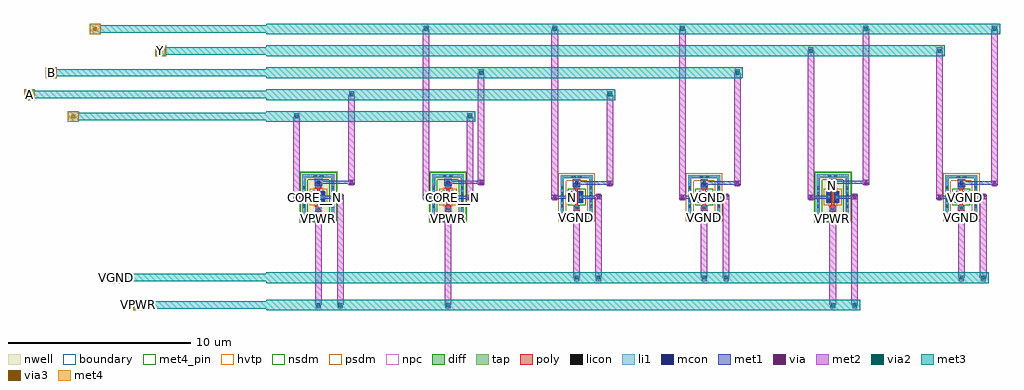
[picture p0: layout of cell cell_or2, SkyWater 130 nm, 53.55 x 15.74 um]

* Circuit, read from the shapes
.subckt cell_or2 A B CORE__N N VGND VPWR Y
XM1 VGND A N VGND sky130_fd_pr__nfet_01v8 w=0.65 l=0.15
XM2 VGND B N VGND sky130_fd_pr__nfet_01v8 w=0.65 l=0.15
XM3 VGND N Y VGND sky130_fd_pr__nfet_01v8 w=0.65 l=0.15
XM4 VPWR A CORE__N VPWR sky130_fd_pr__pfet_01v8_hvt w=0.65 l=0.15
XM5 CORE__N B N VPWR sky130_fd_pr__pfet_01v8_hvt w=0.65 l=0.15
XM6 VPWR N Y VPWR sky130_fd_pr__pfet_01v8_hvt w=0.65 l=0.15
.ends

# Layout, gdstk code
import gdstk
lib = gdstk.Library(unit=1e-6, precision=1e-09)
def R(c, l, rs):  # rectangles x0, y0, x1, y1
    for r in rs: c.add(gdstk.rectangle(r[:2], r[2:], *l))
def A(c, l, x, y, w, h, nx, ny, dx, dy):  # array of equal rectangles
    R(c, l, [(x+i*dx, y+j*dy, x+i*dx+w, y+j*dy+h) for i in range(nx) for j in range(ny)])
def P(c, l, *ps):  # polygons
    for p in ps: c.add(gdstk.Polygon(p, *l))
nwell = (64, 20)
diff = (65, 20)
tap = (65, 44)
poly = (66, 20)
licon = (66, 44)
li1 = (67, 20)
mcon = (67, 44)
met1 = (68, 20)
via = (68, 44)
met2 = (69, 20)
via2 = (69, 44)
met3 = (70, 20)
via3 = (70, 44)
met4_pin = (71, 16)
met4 = (71, 20)
hvtp = (78, 44)
nsdm = (93, 44)
psdm = (94, 20)
npc = (95, 20)
boundary = (235, 4)

cell_or2 = lib.new_cell('cell_or2')
R(cell_or2, nwell, [(25.4,14.8,27.51,17.64), (32.51,14.8,34.62,17.64), (53.62,14.8,55.73,17.64)])
A(cell_or2, diff, 47.255, 15.895, 0.73, 0.65, 3, 1, 7.055, 0)
R(cell_or2, diff, [(26.09,15.895,26.82,16.545), (33.2,15.895,33.93,16.545), (40.255,15.895,40.985,16.545)])
R(cell_or2, tap, [(25.58,14.98,27.33,15.15), (32.69,14.98,34.44,15.15), (53.8,14.98,55.55,15.15), (39.745,15.025,41.495,15.195), (46.745,15.025,48.495,15.195), (60.855,15.025,62.605,15.195), (25.58,15.15,25.75,17.29), (27.16,15.15,27.33,17.29), (32.69,15.15,32.86,17.29), (34.27,15.15,34.44,17.29), (53.8,15.15,53.97,17.29), (55.38,15.15,55.55,17.29), (39.745,15.195,39.915,17.245), (41.325,15.195,41.495,17.245), (46.745,15.195,46.915,17.245), (48.325,15.195,48.495,17.245), (60.855,15.195,61.025,17.245), (62.435,15.195,62.605,17.245), (39.745,17.245,41.495,17.415), (46.745,17.245,48.495,17.415), (60.855,17.245,62.605,17.415), (25.58,17.29,27.33,17.46), (32.69,17.29,34.44,17.46), (53.8,17.29,55.55,17.46)])
R(cell_or2, poly, [(26.29,15.41,26.62,15.74), (33.4,15.41,33.73,15.74), (54.51,15.41,54.84,15.74), (40.455,15.455,40.785,15.785), (47.455,15.455,47.785,15.785), (61.565,15.455,61.895,15.785), (26.38,15.74,26.53,16.7), (33.49,15.74,33.64,16.7), (54.6,15.74,54.75,16.7), (40.545,15.785,40.695,16.655), (47.545,15.785,47.695,16.655), (61.655,15.785,61.805,16.655), (40.455,16.655,40.785,16.985), (47.455,16.655,47.785,16.985), (61.565,16.655,61.895,16.985), (26.29,16.7,26.62,17.03), (33.4,16.7,33.73,17.03), (54.51,16.7,54.84,17.03)])
A(cell_or2, licon, 25.58, 15.625, 0.17, 0.17, 1, 4, 0, 0.34)
A(cell_or2, licon, 27.16, 15.625, 0.17, 0.17, 1, 4, 0, 0.34)
A(cell_or2, licon, 32.69, 15.625, 0.17, 0.17, 1, 4, 0, 0.34)
A(cell_or2, licon, 34.27, 15.625, 0.17, 0.17, 1, 4, 0, 0.34)
A(cell_or2, licon, 39.745, 15.625, 0.17, 0.17, 1, 4, 0, 0.34)
A(cell_or2, licon, 41.325, 15.625, 0.17, 0.17, 1, 4, 0, 0.34)
A(cell_or2, licon, 46.745, 15.625, 0.17, 0.17, 1, 4, 0, 0.34)
A(cell_or2, licon, 48.325, 15.625, 0.17, 0.17, 1, 4, 0, 0.34)
A(cell_or2, licon, 53.8, 15.625, 0.17, 0.17, 1, 4, 0, 0.34)
A(cell_or2, licon, 55.38, 15.625, 0.17, 0.17, 1, 4, 0, 0.34)
A(cell_or2, licon, 60.855, 15.625, 0.17, 0.17, 1, 4, 0, 0.34)
A(cell_or2, licon, 62.435, 15.625, 0.17, 0.17, 1, 4, 0, 0.34)
R(cell_or2, licon, [(26.2,14.98,26.37,15.15), (26.54,14.98,26.71,15.15), (33.31,14.98,33.48,15.15), (33.65,14.98,33.82,15.15), (54.42,14.98,54.59,15.15), (54.76,14.98,54.93,15.15), (40.365,15.025,40.535,15.195), (40.705,15.025,40.875,15.195), (47.365,15.025,47.535,15.195), (47.705,15.025,47.875,15.195), (61.475,15.025,61.645,15.195), (61.815,15.025,61.985,15.195), (26.37,15.49,26.54,15.66), (33.48,15.49,33.65,15.66), (54.59,15.49,54.76,15.66), (40.535,15.535,40.705,15.705), (47.535,15.535,47.705,15.705), (61.645,15.535,61.815,15.705), (26.15,15.965,26.32,16.135), (26.59,15.965,26.76,16.135), (33.26,15.965,33.43,16.135), (33.7,15.965,33.87,16.135), (40.315,15.965,40.485,16.135), (40.755,15.965,40.925,16.135), (47.315,15.965,47.485,16.135), (47.755,15.965,47.925,16.135), (54.37,15.965,54.54,16.135), (54.81,15.965,54.98,16.135), (61.425,15.965,61.595,16.135), (61.865,15.965,62.035,16.135), (26.15,16.305,26.32,16.475), (26.59,16.305,26.76,16.475), (33.26,16.305,33.43,16.475), (33.7,16.305,33.87,16.475), (40.315,16.305,40.485,16.475), (40.755,16.305,40.925,16.475), (47.315,16.305,47.485,16.475), (47.755,16.305,47.925,16.475), (54.37,16.305,54.54,16.475), (54.81,16.305,54.98,16.475), (61.425,16.305,61.595,16.475), (61.865,16.305,62.035,16.475), (40.535,16.735,40.705,16.905), (47.535,16.735,47.705,16.905), (61.645,16.735,61.815,16.905), (26.37,16.78,26.54,16.95), (33.48,16.78,33.65,16.95), (54.59,16.78,54.76,16.95), (40.365,17.245,40.535,17.415), (40.705,17.245,40.875,17.415), (47.365,17.245,47.535,17.415), (47.705,17.245,47.875,17.415), (61.475,17.245,61.645,17.415), (61.815,17.245,61.985,17.415), (26.2,17.29,26.37,17.46), (26.54,17.29,26.71,17.46), (33.31,17.29,33.48,17.46), (33.65,17.29,33.82,17.46), (54.42,17.29,54.59,17.46), (54.76,17.29,54.93,17.46)])
R(cell_or2, li1, [(25.58,14.98,27.33,15.15), (32.69,14.98,34.44,15.15), (53.8,14.98,55.55,15.15), (39.745,15.025,41.495,15.195), (46.745,15.025,48.495,15.195), (60.855,15.025,62.605,15.195), (25.58,15.15,25.75,17.29), (27.16,15.15,27.33,17.29), (32.69,15.15,32.86,17.29), (34.27,15.15,34.44,17.29), (53.8,15.15,53.97,17.29), (55.38,15.15,55.55,17.29), (39.745,15.195,39.915,17.245), (41.325,15.195,41.495,17.245), (46.745,15.195,46.915,17.245), (48.325,15.195,48.495,17.245), (60.855,15.195,61.025,17.245), (62.435,15.195,62.605,17.245), (26.29,15.49,26.62,15.66), (33.4,15.49,33.73,15.66), (54.51,15.49,54.84,15.66), (40.455,15.535,40.785,15.705), (47.455,15.535,47.785,15.705), (61.565,15.535,61.895,15.705), (26.15,15.875,26.32,16.565), (26.59,15.875,26.76,16.565), (33.26,15.875,33.43,16.565), (33.7,15.875,33.87,16.565), (40.315,15.875,40.485,16.565), (40.755,15.875,40.925,16.565), (47.315,15.875,47.485,16.565), (47.755,15.875,47.925,16.565), (54.37,15.875,54.54,16.565), (54.81,15.875,54.98,16.565), (61.425,15.875,61.595,16.565), (61.865,15.875,62.035,16.565), (40.455,16.735,40.785,16.905), (40.535,16.735,40.705,17.075), (47.455,16.735,47.785,16.905), (47.535,16.735,47.705,17.075), (61.565,16.735,61.895,16.905), (61.645,16.735,61.815,17.075), (26.29,16.78,26.62,16.95), (26.37,16.78,26.54,17.12), (33.4,16.78,33.73,16.95), (33.48,16.78,33.65,17.12), (54.51,16.78,54.84,16.95), (54.59,16.78,54.76,17.12), (39.745,17.245,41.495,17.415), (46.745,17.245,48.495,17.415), (60.855,17.245,62.605,17.415), (25.58,17.29,27.33,17.46), (32.69,17.29,34.44,17.46), (53.8,17.29,55.55,17.46)])
R(cell_or2, mcon, [(26.37,14.98,26.54,15.15), (33.48,14.98,33.65,15.15), (54.59,14.98,54.76,15.15), (40.535,15.025,40.705,15.195), (47.535,15.025,47.705,15.195), (61.645,15.025,61.815,15.195), (26.15,15.955,26.32,16.125), (26.59,15.955,26.76,16.125), (33.26,15.955,33.43,16.125), (33.7,15.955,33.87,16.125), (40.315,15.955,40.485,16.125), (40.755,15.955,40.925,16.125), (47.315,15.955,47.485,16.125), (47.755,15.955,47.925,16.125), (54.37,15.955,54.54,16.125), (54.81,15.955,54.98,16.125), (61.425,15.955,61.595,16.125), (61.865,15.955,62.035,16.125), (26.15,16.315,26.32,16.485), (26.59,16.315,26.76,16.485), (33.26,16.315,33.43,16.485), (33.7,16.315,33.87,16.485), (40.315,16.315,40.485,16.485), (40.755,16.315,40.925,16.485), (47.315,16.315,47.485,16.485), (47.755,16.315,47.925,16.485), (54.37,16.315,54.54,16.485), (54.81,16.315,54.98,16.485), (61.425,16.315,61.595,16.485), (61.865,16.315,62.035,16.485), (40.535,16.905,40.705,17.075), (47.535,16.905,47.705,17.075), (61.645,16.905,61.815,17.075), (26.37,16.95,26.54,17.12), (33.48,16.95,33.65,17.12), (54.59,16.95,54.76,17.12)])
R(cell_or2, met1, [(26.255,14.865,26.655,15.265), (33.365,14.865,33.765,15.265), (54.475,14.865,54.875,15.265), (40.42,14.91,40.82,15.31), (47.42,14.91,47.82,15.31), (61.53,14.91,61.93,15.31), (26.275,14.935,26.635,15.195), (33.385,14.935,33.745,15.195), (54.495,14.935,54.855,15.195), (40.44,14.98,40.8,15.24), (47.44,14.98,47.8,15.24), (61.55,14.98,61.91,15.24), (26.12,15.895,26.35,16.545), (26.56,15.895,26.79,16.545), (33.23,15.895,33.46,16.545), (33.67,15.895,33.9,16.545), (40.285,15.895,40.515,16.545), (40.725,15.895,40.955,16.545), (47.285,15.895,47.515,16.545), (47.725,15.895,47.955,16.545), (54.34,15.895,54.57,16.545), (54.78,15.895,55.01,16.545), (61.395,15.895,61.625,16.545), (61.835,15.895,62.065,16.545), (25.075,16.09,25.435,16.35), (27.475,16.09,27.835,16.35), (32.185,16.09,32.545,16.35), (34.585,16.09,34.945,16.35), (39.24,16.09,39.6,16.35), (41.64,16.09,42,16.35), (46.24,16.09,46.6,16.35), (48.64,16.09,49,16.35), (53.295,16.09,53.655,16.35), (55.695,16.09,56.055,16.35), (60.35,16.09,60.71,16.35), (62.75,16.09,63.11,16.35), (25.255,16.135,26.235,16.305), (26.675,16.135,27.655,16.305), (32.365,16.135,33.345,16.305), (33.785,16.135,34.765,16.305), (39.42,16.135,40.4,16.305), (40.84,16.135,41.82,16.305), (46.42,16.135,47.4,16.305), (47.84,16.135,48.82,16.305), (53.475,16.135,54.455,16.305), (54.895,16.135,55.875,16.305), (60.53,16.135,61.51,16.305), (61.95,16.135,62.93,16.305), (40.42,16.79,40.82,17.19), (47.42,16.79,47.82,17.19), (61.53,16.79,61.93,17.19), (26.255,16.835,26.655,17.235), (33.365,16.835,33.765,17.235), (54.475,16.835,54.875,17.235), (42.26,16.86,42.62,17.12), (49.26,16.86,49.62,17.12), (63.37,16.86,63.73,17.12), (28.095,16.905,28.455,17.165), (35.205,16.905,35.565,17.165), (40.62,16.905,42.44,17.075), (47.62,16.905,49.44,17.075), (56.315,16.905,56.675,17.165), (61.73,16.905,63.55,17.075), (26.455,16.95,28.275,17.12), (33.565,16.95,35.385,17.12), (54.675,16.95,56.495,17.12)])
P(cell_or2, met1, [(61.73,15.025),(61.73,15.195),(61.73,15.195),(61.73,15.025)],
  [(33.565,14.98),(33.565,15.15),(33.565,15.15),(33.565,14.98)],
  [(26.455,14.98),(26.455,15.15),(26.455,15.15),(26.455,14.98)],
  [(47.62,15.025),(47.62,15.195),(47.62,15.195),(47.62,15.025)],
  [(54.675,14.98),(54.675,15.15),(54.675,15.15),(54.675,14.98)],
  [(40.62,15.025),(40.62,15.195),(40.62,15.195),(40.62,15.025)])
R(cell_or2, via, [(26.38,14.99,26.53,15.14), (33.49,14.99,33.64,15.14), (54.6,14.99,54.75,15.14), (40.545,15.035,40.695,15.185), (47.545,15.035,47.695,15.185), (61.655,15.035,61.805,15.185), (25.18,16.145,25.33,16.295), (27.58,16.145,27.73,16.295), (32.29,16.145,32.44,16.295), (34.69,16.145,34.84,16.295), (39.345,16.145,39.495,16.295), (41.745,16.145,41.895,16.295), (46.345,16.145,46.495,16.295), (48.745,16.145,48.895,16.295), (53.4,16.145,53.55,16.295), (55.8,16.145,55.95,16.295), (60.455,16.145,60.605,16.295), (62.855,16.145,63.005,16.295), (42.365,16.915,42.515,17.065), (49.365,16.915,49.515,17.065), (63.475,16.915,63.625,17.065), (28.2,16.96,28.35,17.11), (35.31,16.96,35.46,17.11), (56.42,16.96,56.57,17.11)])
R(cell_or2, met2, [(26.315,10.11,26.595,10.49), (27.515,10.11,27.795,10.49), (33.425,10.11,33.705,10.49), (54.535,10.11,54.815,10.49), (55.735,10.11,56.015,10.49), (26.275,10.3,26.635,15.065), (27.475,10.3,27.835,16.22), (33.385,10.3,33.745,15.065), (54.495,10.3,54.855,15.065), (55.695,10.3,56.055,16.22), (40.48,11.61,40.76,11.99), (41.68,11.61,41.96,11.99), (47.48,11.61,47.76,11.99), (48.68,11.61,48.96,11.99), (61.59,11.61,61.87,11.99), (62.79,11.61,63.07,11.99), (40.44,11.8,40.8,15.11), (41.64,11.8,42,16.22), (47.44,11.8,47.8,15.11), (48.64,11.8,49,16.22), (61.55,11.8,61.91,15.11), (62.75,11.8,63.11,16.22), (26.325,14.885,26.585,15.245), (33.435,14.885,33.695,15.245), (54.545,14.885,54.805,15.245), (40.49,14.93,40.75,15.29), (47.49,14.93,47.75,15.29), (61.6,14.93,61.86,15.29), (25.125,16.04,25.385,16.4), (27.525,16.04,27.785,16.4), (32.235,16.04,32.495,16.4), (34.635,16.04,34.895,16.4), (39.29,16.04,39.55,16.4), (41.69,16.04,41.95,16.4), (46.29,16.04,46.55,16.4), (48.69,16.04,48.95,16.4), (53.345,16.04,53.605,16.4), (55.745,16.04,56.005,16.4), (60.4,16.04,60.66,16.4), (62.8,16.04,63.06,16.4), (25.075,16.22,25.435,20.64), (32.185,16.22,32.545,25.44), (34.585,16.22,34.945,20.64), (39.24,16.22,39.6,25.44), (46.24,16.22,46.6,25.44), (53.295,16.22,53.655,24.24), (60.35,16.22,60.71,24.24), (42.31,16.81,42.57,17.17), (49.31,16.81,49.57,17.17), (63.42,16.81,63.68,17.17), (28.145,16.855,28.405,17.215), (35.255,16.855,35.515,17.215), (56.365,16.855,56.625,17.215), (42.26,16.99,42.62,21.84), (49.26,16.99,49.62,23.04), (63.37,16.99,63.73,25.44), (28.095,17.035,28.455,21.84), (35.205,17.035,35.565,23.04), (56.315,17.035,56.675,25.44), (25.115,20.45,25.395,20.83), (34.625,20.45,34.905,20.83), (28.135,21.65,28.415,22.03), (42.3,21.65,42.58,22.03), (35.245,22.85,35.525,23.23), (49.3,22.85,49.58,23.23), (53.335,24.05,53.615,24.43), (60.39,24.05,60.67,24.43), (32.225,25.25,32.505,25.63), (39.28,25.25,39.56,25.63), (46.28,25.25,46.56,25.63), (56.355,25.25,56.635,25.63), (63.41,25.25,63.69,25.63)])
R(cell_or2, via2, [(26.355,10.2,26.555,10.4), (27.555,10.2,27.755,10.4), (33.465,10.2,33.665,10.4), (54.575,10.2,54.775,10.4), (55.775,10.2,55.975,10.4), (40.52,11.7,40.72,11.9), (41.72,11.7,41.92,11.9), (47.52,11.7,47.72,11.9), (48.72,11.7,48.92,11.9), (61.63,11.7,61.83,11.9), (62.83,11.7,63.03,11.9), (25.155,20.54,25.355,20.74), (34.665,20.54,34.865,20.74), (28.175,21.74,28.375,21.94), (42.34,21.74,42.54,21.94), (35.285,22.94,35.485,23.14), (49.34,22.94,49.54,23.14), (53.375,24.14,53.575,24.34), (60.43,24.14,60.63,24.34), (32.265,25.34,32.465,25.54), (39.32,25.34,39.52,25.54), (46.32,25.34,46.52,25.54), (56.395,25.34,56.595,25.54), (63.45,25.34,63.65,25.54)])
R(cell_or2, met3, [(16.3,10,16.9,10.6), (23.6,10,56.175,10.6), (26.205,10.05,26.705,10.55), (27.405,10.05,27.905,10.55), (33.315,10.05,33.815,10.55), (54.425,10.05,54.925,10.55), (55.625,10.05,56.125,10.55), (15.1,11.5,15.7,12.1), (23.6,11.5,63.23,12.1), (40.37,11.55,40.87,12.05), (41.57,11.55,42.07,12.05), (47.37,11.55,47.87,12.05), (48.57,11.55,49.07,12.05), (61.48,11.55,61.98,12.05), (62.68,11.55,63.18,12.05), (12.7,20.34,13.3,20.94), (23.6,20.34,35.065,20.94), (25.005,20.39,25.505,20.89), (34.515,20.39,35.015,20.89), (10.3,21.54,10.9,22.14), (23.6,21.54,42.74,22.14), (28.025,21.59,28.525,22.09), (42.19,21.59,42.69,22.09), (11.5,22.74,12.1,23.34), (23.6,22.74,49.74,23.34), (35.135,22.79,35.635,23.29), (49.19,22.79,49.69,23.29), (17.5,23.94,18.1,24.54), (23.6,23.94,60.83,24.54), (53.225,23.99,53.725,24.49), (60.28,23.99,60.78,24.49), (13.9,25.14,14.5,25.74), (23.6,25.14,63.85,25.74), (32.115,25.19,32.615,25.69), (39.17,25.19,39.67,25.69), (46.17,25.19,46.67,25.69), (56.245,25.19,56.745,25.69), (63.3,25.19,63.8,25.69)])
R(cell_or2, via3, [(16.5,10.2,16.7,10.4), (15.3,11.7,15.5,11.9), (12.9,20.54,13.1,20.74), (10.5,21.74,10.7,21.94), (11.7,22.94,11.9,23.14), (17.7,24.14,17.9,24.34), (14.1,25.34,14.3,25.54)])
R(cell_or2, met4_pin, [(16.35,10.05,16.85,10.55), (15.15,11.55,15.65,12.05), (10.35,21.59,10.85,22.09), (11.55,22.79,12.05,23.29), (17.55,23.99,18.05,24.49)])
R(cell_or2, met4, [(16.3,10,16.9,10.6), (16.35,10,16.85,10.6), (15.1,11.5,15.7,12.1), (15.15,11.5,15.65,12.1), (12.7,20.34,13.3,20.94), (12.75,20.34,13.25,20.94), (10.3,21.54,10.9,22.14), (10.35,21.54,10.85,22.14), (11.5,22.74,12.1,23.34), (11.55,22.74,12.05,23.34), (17.5,23.94,18.1,24.54), (17.55,23.94,18.05,24.54), (13.9,25.14,14.5,25.74), (13.95,25.14,14.45,25.74)])
R(cell_or2, hvtp, [(26.2,15.715,26.71,16.725), (33.31,15.715,33.82,16.725), (54.42,15.715,54.93,16.725)])
R(cell_or2, nsdm, [(25.455,14.855,27.455,15.275), (32.565,14.855,34.565,15.275), (53.675,14.855,55.675,15.275), (25.455,15.275,25.875,17.165), (27.035,15.275,27.455,17.165), (32.565,15.275,32.985,17.165), (34.145,15.275,34.565,17.165), (53.675,15.275,54.095,17.165), (55.255,15.275,55.675,17.165), (40.13,15.77,41.11,16.67), (47.13,15.77,48.11,16.67), (61.24,15.77,62.22,16.67), (25.455,17.165,27.455,17.585), (32.565,17.165,34.565,17.585), (53.675,17.165,55.675,17.585)])
R(cell_or2, psdm, [(39.62,14.9,41.62,15.32), (46.62,14.9,48.62,15.32), (60.73,14.9,62.73,15.32), (39.62,15.32,40.04,17.12), (41.2,15.32,41.62,17.12), (46.62,15.32,47.04,17.12), (48.2,15.32,48.62,17.12), (60.73,15.32,61.15,17.12), (62.31,15.32,62.73,17.12), (25.965,15.77,26.945,16.67), (33.075,15.77,34.055,16.67), (54.185,15.77,55.165,16.67), (39.62,17.12,41.62,17.54), (46.62,17.12,48.62,17.54), (60.73,17.12,62.73,17.54)])
R(cell_or2, npc, [(26.27,15.39,26.64,15.76), (33.38,15.39,33.75,15.76), (54.49,15.39,54.86,15.76), (40.435,15.435,40.805,15.805), (47.435,15.435,47.805,15.805), (61.545,15.435,61.915,15.805), (40.435,16.635,40.805,17.005), (47.435,16.635,47.805,17.005), (61.545,16.635,61.915,17.005), (26.27,16.68,26.64,17.05), (33.38,16.68,33.75,17.05), (54.49,16.68,54.86,17.05)])
R(cell_or2, boundary, [(25.665,15.065,27.245,17.375), (32.775,15.065,34.355,17.375), (53.885,15.065,55.465,17.375), (39.83,15.11,41.41,17.33), (46.83,15.11,48.41,17.33), (60.94,15.11,62.52,17.33)])
cell_or2.add(gdstk.FlexPath([(16.6,10.3),(23.6,10.3)], 0.4, ends="flush", simple_path=True, layer=70, datatype=20))  # met3
cell_or2.add(gdstk.FlexPath([(17.8,24.24),(23.6,24.24)], 0.4, ends="flush", simple_path=True, layer=70, datatype=20))  # met3
cell_or2.add(gdstk.FlexPath([(15.4,11.8),(23.6,11.8)], 0.4, ends="flush", simple_path=True, layer=70, datatype=20))  # met3
cell_or2.add(gdstk.FlexPath([(14.2,25.44),(23.6,25.44)], 0.4, ends="flush", simple_path=True, layer=70, datatype=20))  # met3
cell_or2.add(gdstk.FlexPath([(13,20.64),(23.6,20.64)], 0.4, ends="flush", simple_path=True, layer=70, datatype=20))  # met3
cell_or2.add(gdstk.FlexPath([(11.8,23.04),(23.6,23.04)], 0.4, ends="flush", simple_path=True, layer=70, datatype=20))  # met3
cell_or2.add(gdstk.FlexPath([(10.6,21.84),(23.6,21.84)], 0.4, ends="flush", simple_path=True, layer=70, datatype=20))  # met3
cell_or2.add(gdstk.Label('VGND', (61.95,16.22), layer=67, texttype=5))
cell_or2.add(gdstk.Label('Y', (61.51,16.22), layer=67, texttype=5))
cell_or2.add(gdstk.Label('VGND', (61.73,15.11), layer=67, texttype=5))
cell_or2.add(gdstk.Label('VGND', (47.84,16.22), layer=67, texttype=5))
cell_or2.add(gdstk.Label('N', (47.4,16.22), layer=67, texttype=5))
cell_or2.add(gdstk.Label('N', (54.675,16.865), layer=67, texttype=5))
cell_or2.add(gdstk.Label('VPWR', (26.455,15.065), layer=67, texttype=5))
cell_or2.add(gdstk.Label('B', (47.62,16.82), layer=67, texttype=5))
cell_or2.add(gdstk.Label('CORE__N', (26.235,16.22), layer=67, texttype=5))
cell_or2.add(gdstk.Label('N', (61.73,16.82), layer=67, texttype=5))
cell_or2.add(gdstk.Label('Y', (54.455,16.22), layer=67, texttype=5))
cell_or2.add(gdstk.Label('VPWR', (54.675,15.065), layer=67, texttype=5))
cell_or2.add(gdstk.Label('VPWR', (26.675,16.22), layer=67, texttype=5))
cell_or2.add(gdstk.Label('CORE__N', (33.785,16.22), layer=67, texttype=5))
cell_or2.add(gdstk.Label('VPWR', (54.895,16.22), layer=67, texttype=5))
cell_or2.add(gdstk.Label('N', (33.345,16.22), layer=67, texttype=5))
cell_or2.add(gdstk.Label('VGND', (40.62,15.11), layer=67, texttype=5))
cell_or2.add(gdstk.Label('B', (33.565,16.865), layer=67, texttype=5))
cell_or2.add(gdstk.Label('N', (40.4,16.22), layer=67, texttype=5))
cell_or2.add(gdstk.Label('VPWR', (33.565,15.065), layer=67, texttype=5))
cell_or2.add(gdstk.Label('VGND', (40.84,16.22), layer=67, texttype=5))
cell_or2.add(gdstk.Label('A', (26.455,16.865), layer=67, texttype=5))
cell_or2.add(gdstk.Label('A', (40.62,16.82), layer=67, texttype=5))
cell_or2.add(gdstk.Label('VGND', (47.62,15.11), layer=67, texttype=5))
cell_or2.add(gdstk.Label('Y', (17.8,24.24), layer=71, texttype=5))
cell_or2.add(gdstk.Label('VGND', (15.4,11.8), layer=71, texttype=5))
cell_or2.add(gdstk.Label('B', (11.8,23.04), layer=71, texttype=5))
cell_or2.add(gdstk.Label('VPWR', (16.6,10.3), layer=71, texttype=5))
cell_or2.add(gdstk.Label('A', (10.6,21.84), layer=71, texttype=5))

lib.write_gds('cell_or2.gds')
